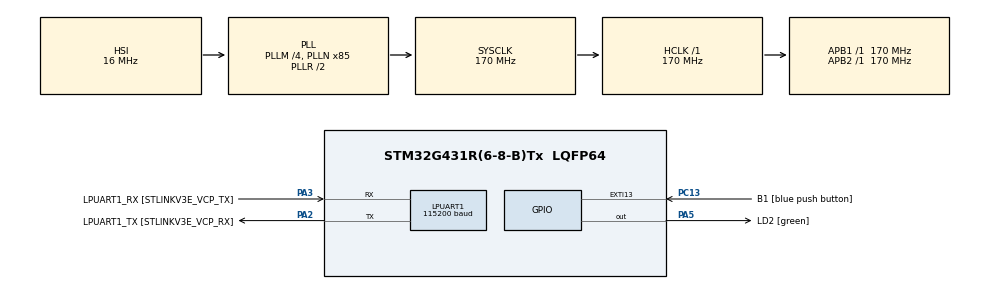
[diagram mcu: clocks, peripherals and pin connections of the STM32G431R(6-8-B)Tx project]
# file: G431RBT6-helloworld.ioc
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LPUART1.BaudRate=115200
LPUART1.WordLength=UART_WORDLENGTH_8B
Mcu.Family=STM32G4
Mcu.Name=STM32G431R(6-8-B)Tx
Mcu.Package=LQFP64
NVIC.PriorityGroup=NVIC_PRIORITYGROUP_4
PA13.GPIO_Label=T_SWDIO
PA13.Mode=Serial_Wire
PA13.Signal=SYS_JTMS-SWDIO
PA14.GPIO_Label=T_SWCLK
PA14.Mode=Serial_Wire
PA14.Signal=SYS_JTCK-SWCLK
PA2.GPIO_Label=LPUART1_TX [STLINKV3E_VCP_RX]
PA2.Mode=Asynchronous
PA2.Signal=LPUART1_TX
PA3.GPIO_Label=LPUART1_RX [STLINKV3E_VCP_TX]
PA3.Mode=Asynchronous
PA3.Signal=LPUART1_RX
PA5.GPIO_Label=LD2 [green]
PA5.Signal=GPIO_Output
PB3.GPIO_Label=T_SWO
PB3.Signal=SYS_JTDO-SWO
PC13.GPIO_Label=B1 [blue push button]
PC13.Signal=GPXTI13
PC14-OSC32_IN.Mode=LSE-External-Oscillator
PC14-OSC32_IN.Signal=RCC_OSC32_IN
PC15-OSC32_OUT.Mode=LSE-External-Oscillator
PC15-OSC32_OUT.Signal=RCC_OSC32_OUT
PF0-OSC_IN.Mode=HSE-External-Oscillator
PF0-OSC_IN.Signal=RCC_OSC_IN
PF1-OSC_OUT.Mode=HSE-External-Oscillator
PF1-OSC_OUT.Signal=RCC_OSC_OUT
ProjectManager.HeapSize=0x200
ProjectManager.StackSize=0x400
ProjectManager.TargetToolchain=STM32CubeIDE
RCC.ADC12Freq_Value=170000000
RCC.AHBFreq_Value=170000000
RCC.APB1Freq_Value=170000000
RCC.APB1TimFreq_Value=170000000
RCC.APB2Freq_Value=170000000
RCC.APB2TimFreq_Value=170000000
RCC.CortexFreq_Value=170000000
RCC.EXTERNAL_CLOCK_VALUE=12288000
RCC.HCLKFreq_Value=170000000
RCC.HSE_VALUE=24000000
RCC.HSI48_VALUE=48000000
RCC.HSI_VALUE=16000000
RCC.PLLM=RCC_PLLM_DIV4
RCC.PLLN=85
RCC.RTCClockSelection=RCC_RTCCLKSOURCE_LSE
RCC.SYSCLKFreq_VALUE=170000000
RCC.SYSCLKSource=RCC_SYSCLKSOURCE_PLLCLK
RCC.USBFreq_Value=170000000
RCC.VCOOutputFreq_Value=340000000
VP_SYS_VS_DBSignals.Mode=DisableDeadBatterySignals
board=NUCLEO-G431RB

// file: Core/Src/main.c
/* USER CODE BEGIN Header */
/**
 ******************************************************************************
 * @file           : main.c
 * @brief          : Main program body
 ******************************************************************************
 * @attention
 *
 * Copyright (c) 2022 STMicroelectronics.
 * All rights reserved.
 *
 * This software is licensed under terms that can be found in the LICENSE file
 * in the root directory of this software component.
 * If no LICENSE file comes with this software, it is provided AS-IS.
 *
 ******************************************************************************
 */
/* USER CODE END Header */
#include "main.h"

/* USER CODE BEGIN Includes */
#include "stdio.h"
#include "stm32g4xx_nucleo.h"
/* USER CODE END Includes */

UART_HandleTypeDef hlpuart1;

void SystemClock_Config(void);
static void MX_GPIO_Init(void);
static void MX_LPUART1_UART_Init(void);
/* USER CODE BEGIN PFP */
#ifdef __GNUC__
/* With GCC, small printf (option LD Linker->Libraries->Small printf
   set to 'Yes') calls __io_putchar() */
#define PUTCHAR_PROTOTYPE int __io_putchar(int ch)
#else
#define PUTCHAR_PROTOTYPE int fputc(int ch, FILE *f)
#endif /* __GNUC__ */
/* USER CODE END PFP */

int main(void)
{

  /* MCU Configuration--------------------------------------------------------*/

  /* Reset of all peripherals, Initializes the Flash interface and the Systick. */
  HAL_Init();

  /* USER CODE BEGIN Init */
  BSP_LED_Init(LED2);
  /* USER CODE END Init */

  /* Configure the system clock */
  SystemClock_Config();

  /* Initialize all configured peripherals */
  MX_GPIO_Init();
  MX_LPUART1_UART_Init();
  /* USER CODE BEGIN 2 */
  /* Output a message on Hyperterminal using printf function */
  printf("\n\r UART Printf Example: retarget the C library printf function to the UART\n\r");
  printf("** Test finished successfully. ** \n\r");
  BSP_LED_On(LED2);
  /* USER CODE END 2 */

  /* Infinite loop */
  while (1)
  {

  }
}

void SystemClock_Config(void)
{
  RCC_OscInitTypeDef RCC_OscInitStruct = {0};
  RCC_ClkInitTypeDef RCC_ClkInitStruct = {0};

  /** Configure the main internal regulator output voltage
   */
  HAL_PWREx_ControlVoltageScaling(PWR_REGULATOR_VOLTAGE_SCALE1_BOOST);

  /** Initializes the RCC Oscillators according to the specified parameters
   * in the RCC_OscInitTypeDef structure.
   */
  RCC_OscInitStruct.OscillatorType = RCC_OSCILLATORTYPE_HSI;
  RCC_OscInitStruct.HSIState = RCC_HSI_ON;
  RCC_OscInitStruct.HSICalibrationValue = RCC_HSICALIBRATION_DEFAULT;
  RCC_OscInitStruct.PLL.PLLState = RCC_PLL_ON;
  RCC_OscInitStruct.PLL.PLLSource = RCC_PLLSOURCE_HSI;
  RCC_OscInitStruct.PLL.PLLM = RCC_PLLM_DIV4;
  RCC_OscInitStruct.PLL.PLLN = 85;
  RCC_OscInitStruct.PLL.PLLP = RCC_PLLP_DIV2;
  RCC_OscInitStruct.PLL.PLLQ = RCC_PLLQ_DIV2;
  RCC_OscInitStruct.PLL.PLLR = RCC_PLLR_DIV2;
  if (HAL_RCC_OscConfig(&RCC_OscInitStruct) != HAL_OK)
  {
    Error_Handler();
  }

  /** Initializes the CPU, AHB and APB buses clocks
   */
  RCC_ClkInitStruct.ClockType = RCC_CLOCKTYPE_HCLK | RCC_CLOCKTYPE_SYSCLK | RCC_CLOCKTYPE_PCLK1 | RCC_CLOCKTYPE_PCLK2;
  RCC_ClkInitStruct.SYSCLKSource = RCC_SYSCLKSOURCE_PLLCLK;
  RCC_ClkInitStruct.AHBCLKDivider = RCC_SYSCLK_DIV1;
  RCC_ClkInitStruct.APB1CLKDivider = RCC_HCLK_DIV1;
  RCC_ClkInitStruct.APB2CLKDivider = RCC_HCLK_DIV1;

  if (HAL_RCC_ClockConfig(&RCC_ClkInitStruct, FLASH_LATENCY_4) != HAL_OK)
  {
    Error_Handler();
  }
}

static void MX_LPUART1_UART_Init(void)
{

  hlpuart1.Instance = LPUART1;
  hlpuart1.Init.BaudRate = 115200;
  hlpuart1.Init.WordLength = UART_WORDLENGTH_8B;
  hlpuart1.Init.StopBits = UART_STOPBITS_1;
  hlpuart1.Init.Parity = UART_PARITY_NONE;
  hlpuart1.Init.Mode = UART_MODE_TX_RX;
  hlpuart1.Init.HwFlowCtl = UART_HWCONTROL_NONE;
  hlpuart1.Init.OneBitSampling = UART_ONE_BIT_SAMPLE_DISABLE;
  hlpuart1.Init.ClockPrescaler = UART_PRESCALER_DIV1;
  hlpuart1.AdvancedInit.AdvFeatureInit = UART_ADVFEATURE_NO_INIT;
  if (HAL_UART_Init(&hlpuart1) != HAL_OK)
  {
    Error_Handler();
  }
  if (HAL_UARTEx_SetTxFifoThreshold(&hlpuart1, UART_TXFIFO_THRESHOLD_1_8) != HAL_OK)
  {
    Error_Handler();
  }
  if (HAL_UARTEx_SetRxFifoThreshold(&hlpuart1, UART_RXFIFO_THRESHOLD_1_8) != HAL_OK)
  {
    Error_Handler();
  }
  if (HAL_UARTEx_DisableFifoMode(&hlpuart1) != HAL_OK)
  {
    Error_Handler();
  }
  /* USER CODE BEGIN LPUART1_Init 2 */
  uint8_t Test[] = "Hell World!! \r\n";
  HAL_UART_Transmit(&hlpuart1, Test, sizeof(Test), 10);
  HAL_Delay(1000);
  /* USER CODE END LPUART1_Init 2 */
}

static void MX_GPIO_Init(void)
{
  GPIO_InitTypeDef GPIO_InitStruct = {0};

  /* GPIO Ports Clock Enable */
  __HAL_RCC_GPIOC_CLK_ENABLE();
  __HAL_RCC_GPIOF_CLK_ENABLE();
  __HAL_RCC_GPIOA_CLK_ENABLE();
  __HAL_RCC_GPIOB_CLK_ENABLE();

  /*Configure GPIO pin Output Level */
  HAL_GPIO_WritePin(LD2_GPIO_Port, LD2_Pin, GPIO_PIN_RESET);

  /*Configure GPIO pin : B1_Pin */
  GPIO_InitStruct.Pin = B1_Pin;
  GPIO_InitStruct.Mode = GPIO_MODE_IT_RISING;
  GPIO_InitStruct.Pull = GPIO_NOPULL;
  HAL_GPIO_Init(B1_GPIO_Port, &GPIO_InitStruct);

  /*Configure GPIO pin : LD2_Pin */
  GPIO_InitStruct.Pin = LD2_Pin;
  GPIO_InitStruct.Mode = GPIO_MODE_OUTPUT_PP;
  GPIO_InitStruct.Pull = GPIO_NOPULL;
  GPIO_InitStruct.Speed = GPIO_SPEED_FREQ_LOW;
  HAL_GPIO_Init(LD2_GPIO_Port, &GPIO_InitStruct);
}

/* USER CODE BEGIN 4 */
/**
 * @brief  Retargets the C library printf function to the USART.
 * @param  None
 * @retval None
 */
PUTCHAR_PROTOTYPE
{
  /* Place your implementation of fputc here */
  /* e.g. write a character to the LPUART1 and Loop until the end of transmission */
  HAL_UART_Transmit(&hlpuart1, (uint8_t *)&ch, 1, 0xFFFF);

  return ch;
}
/* USER CODE END 4 */

void Error_Handler(void)
{
  __disable_irq();
  while (1)
  {
  }
}
